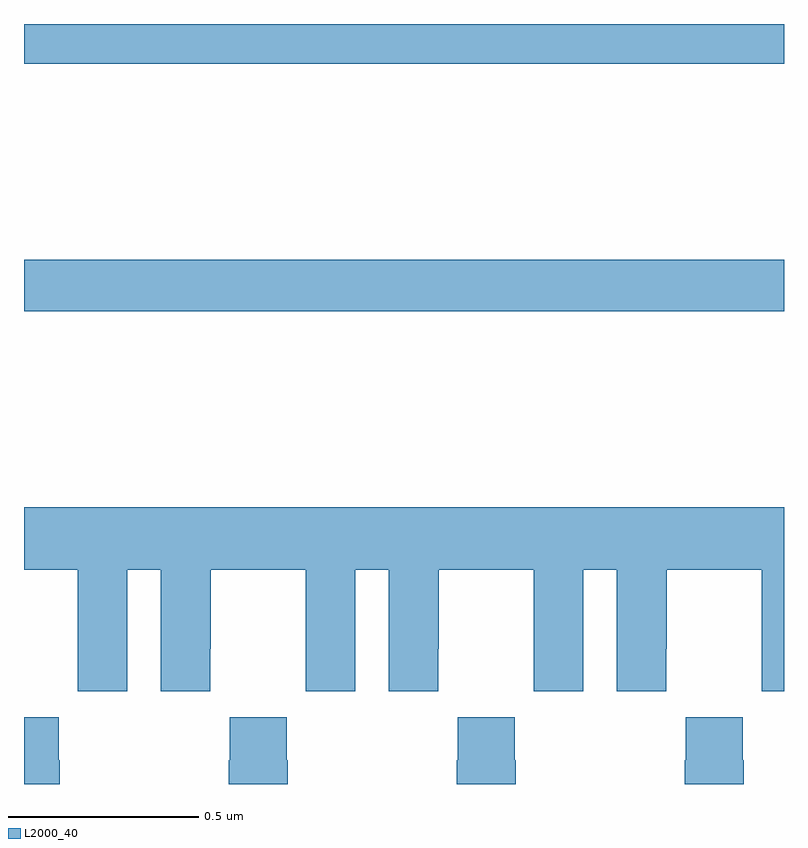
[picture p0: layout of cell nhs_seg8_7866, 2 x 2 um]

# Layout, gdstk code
import gdstk
lib = gdstk.Library(unit=1e-6, precision=1e-09)
def R(c, l, rs):  # rectangles x0, y0, x1, y1
    for r in rs: c.add(gdstk.rectangle(r[:2], r[2:], *l))
def P(c, l, *ps):  # polygons
    for p in ps: c.add(gdstk.Polygon(p, *l))
L2000_40 = (2000, 40)

nhs_seg8_7866 = lib.new_cell('nhs_seg8_7866')
R(nhs_seg8_7866, L2000_40, [(215,1153.144,217,1153.28), (215,1153.796,217,1153.9)])
P(nhs_seg8_7866, L2000_40, [(215.272,1152.464),(215.36,1152.464),(215.36,1152.144),(215.49,1152.144),(215.49,1152.256),(215.491,1152.256),(215.491,1152.464),(215.741,1152.464),(215.741,1152.256),(215.742,1152.256),(215.742,1152.144),(215.872,1152.144),(215.872,1152.464),(215.96,1152.464),(215.96,1152.144),(216.09,1152.144),(216.09,1152.256),(216.091,1152.256),(216.091,1152.464),(216.341,1152.464),(216.341,1152.256),(216.342,1152.256),(216.342,1152.144),(216.472,1152.144),(216.472,1152.464),(216.56,1152.464),(216.56,1152.144),(216.69,1152.144),(216.69,1152.256),(216.691,1152.256),(216.691,1152.464),(216.941,1152.464),(216.941,1152.256),(216.942,1152.256),(216.942,1152.144),(217,1152.144),(217,1152.628),(215,1152.628),(215,1152.464),(215.141,1152.464),(215.141,1152.256),(215.142,1152.256),(215.142,1152.144),(215.272,1152.144)],
  [(216.894,1151.963),(216.891,1151.963),(216.891,1152.076),(216.741,1152.076),(216.741,1151.963),(216.739,1151.963),(216.739,1151.9),(216.894,1151.9)],
  [(216.294,1151.963),(216.291,1151.963),(216.291,1152.076),(216.141,1152.076),(216.141,1151.963),(216.139,1151.963),(216.139,1151.9),(216.294,1151.9)],
  [(215.694,1151.963),(215.691,1151.963),(215.691,1152.076),(215.541,1152.076),(215.541,1151.963),(215.539,1151.963),(215.539,1151.9),(215.694,1151.9)],
  [(215.094,1151.963),(215.091,1151.963),(215.091,1152.076),(215,1152.076),(215,1151.9),(215.094,1151.9)])

lib.write_gds('nhs_seg8_7866.gds')
